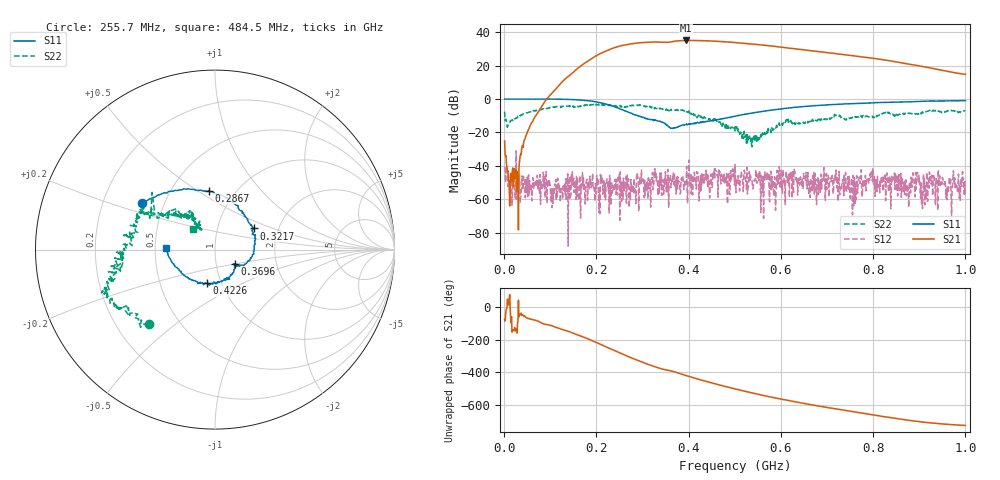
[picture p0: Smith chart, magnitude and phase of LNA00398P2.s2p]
! Created with skrf 1.9.0 (http://scikit-rf.org).
# Hz S RI R 50.0
!freq ReS11 ImS11 ReS21 ImS21 ReS12 ImS12 ReS22 ImS22
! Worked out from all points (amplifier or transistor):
!   1001 points, 1 MHz to 1 GHz, reference 50 ohm
!   highest |S21| = 35.1 dB at 394.6 MHz (marker M1)
!   |S21| within 3 dB of that: 256.6 MHz to 568.5 MHz (311.9 MHz wide, 75.6 % of centre)
!   unconditionally stable (mu >= 1): 251.9 MHz to 297.5 MHz; 326.8 MHz to 395.5 MHz; 401 MHz to end of sweep (the widest 3 of 50)
!   at 166.8 MHz: K = 0.80, MSG = 35.4 dB, |S12| = -50.9 dB
!   at 500.5 MHz: K = 1.10, MAG = 34.6 dB, |S12| = -39.2 dB
!   at 1 GHz: K = 10.87, MAG = 23.2 dB, |S12| = -58.2 dB
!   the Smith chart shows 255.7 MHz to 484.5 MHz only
!   S11 on the Smith chart (normalised r, x): 255.7 MHz: 0.38, +0.25; 286.7 MHz: 0.76, +0.56; 321.7 MHz: 1.50, +0.37; 369.6 MHz: 1.23, -0.20; 422.6 MHz: 0.85, -0.33; 484.5 MHz: 0.57, +0.01
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1000000  1.002 0.00879  0.0144 -0.0531  -0.00143 0.00936  0.3055 0.291
1.08892e8  0.5272 -0.8447  -0.8563 -1.576  -0.00202 -0.000177  0.4161 -0.3904
1.67833e8  -0.2197 -0.9044  -10.23 -0.4526  -0.001 0.00174  0.0211 -0.6257
2.13787e8  -0.671 -0.333  -15.18 19.74  0.000451 -0.00134  -0.2513 -0.6423
2.32768e8  -0.6325 -0.0229  -6.935 31.41  -0.00295 -0.00161  -0.309 -0.5877
2.55745e8  -0.4051 0.2596  11.44 38.34  -0.00258 0.00202  -0.3698 -0.4166
2.86714e8  -0.0323 0.3284  37.67 28.93  -0.000287 0.00438  -0.6036 -0.2558
3.04696e8  0.1291 0.2441  47.73 14.99  -0.00163 0.0033  -0.5905 -0.1646
3.21679e8  0.2164 0.1176  51.45 0.2208  -0.00249 0.00582  -0.5522 -0.0629
3.34666e8  0.2189 0.00266  49.94 -10.58  0.000889 0.00207  -0.5191 -0.0397
3.69631e8  0.1114 -0.0797  43.48 -31.99  -0.00437 0.00195  -0.432 0.1501
3.94606e8  0.073 -0.1573  29.36 -48.81  0.00233 0.0025  -0.3833 0.1997
4.22578e8  -0.046 -0.1871  7.348 -55.81  0.000827 0.000299  -0.2431 0.2113
4.5055e8  -0.1742 -0.1382  -13.75 -53.21  0.00104 -0.00193  -0.1319 0.1929
4.84516e8  -0.2739 0.00917  -32.7 -39.82  9.44e-05 0.000715  -0.1212 0.1173
5.005e8  -0.2891 0.1013  -38.47 -31.16  0.00998 -0.00441  -0.0768 0.0803
5.4046e8  -0.2408 0.3074  -43 -9.574  0.0022 0.0019  -0.0627 -0.00518
5.88412e8  -0.0556 0.4805  -35.97 11.05  -0.000221 0.000411  -0.1183 -0.0654
6.67333e8  0.3162 0.5351  -14.18 23.81  0.000263 -0.00177  -0.22 -0.0371
7.53247e8  0.6205 0.3768  3.43 19.72  3.52e-05 -0.00425  -0.2642 0.0132
8.34166e8  0.7846 0.1518  10.1 9.844  0.00153 0.000533  -0.3712 0.0299
1e9  0.8182 -0.3758  5.492 -0.5483  1.93e-05 0.00123  -0.2848 0.3352
